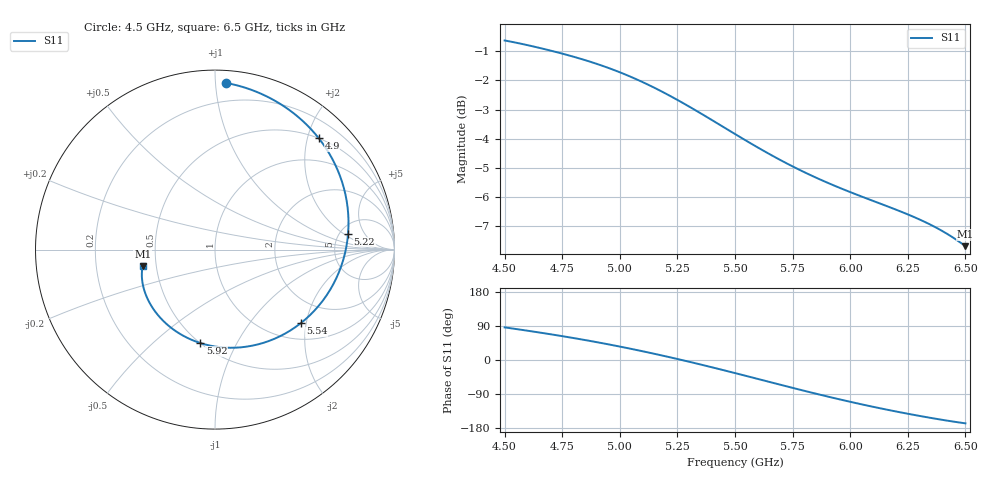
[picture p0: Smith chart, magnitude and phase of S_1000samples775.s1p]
! TOUCHSTONE file generated by CST MICROWAVE STUDIO
! Date and time: Sat Oct 29 08:19:11 2022
! Project name: L.cst
! Parameters = {Di=1.27; Epsilon_r=1.56; InnerDiameter=1.27; Length=2; Lf=10; Lg=60; OuterConductorThickness=0.2921; OuterDiameter=3.6; Wf=3; Wp=41.2; de=1.5; df=6.8; g=0.8; gx=3.873; gy=2.90499; h=2.34; hf=1.524; px=13.3201; py=8.51211; w=9.7; wx=9.44711; wy=5.60712}
! Header version: 2018
! Port assignment regex: !\s*Touchstone port\s*([0-9]+)\s*=\s*(CST MWS port|CST DS port)\s*([0-9]+|Zmin|Zmax)\s*\(\"(.*)\"\)(\s*mode\s*([0-9]+))?.*
! Touchstone port assignment:
! Touchstone port 1 = CST MWS port 1 ("")
# GHz S DB R 50
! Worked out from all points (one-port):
!   101 points, 4.5 GHz to 6.5 GHz, reference 50 ohm
!   lowest |S11| = -7.7 dB at 6.5 GHz (marker M1), VSWR 2.41, Z = 21 - j4.65 ohm
!   |S11| at or under -10 dB: nowhere
!   S11 on the Smith chart (normalised r, x): 4.5 GHz: 0.08, +1.07; 4.9 GHz: 0.50, +2.20; 5.22 GHz: 5.92, +2.38; 5.54 GHz: 1.37, -1.86; 5.92 GHz: 0.50, -0.72; 6.5 GHz: 0.42, -0.09
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4.5  -0.63 86.1
4.56  -0.72 80.8
4.64  -0.86 73.6
4.76  -1.10 61.9
4.84  -1.28 53.6
4.9  -1.43 47.1
5  -1.72 35.4
5.06  -1.92 28.0
5.12  -2.13 20.3
5.18  -2.37 12.3
5.22  -2.54 6.8
5.26  -2.71 1.2
5.32  -2.98 -7.4
5.38  -3.26 -16.2
5.44  -3.55 -25.3
5.5  -3.83 -34.5
5.54  -4.02 -40.7
5.64  -4.48 -56.4
5.7  -4.74 -65.8
5.76  -4.98 -75.1
5.84  -5.29 -87.2
5.92  -5.57 -99.0
6  -5.82 -110.3
6.12  -6.19 -126.1
6.18  -6.37 -133.6
6.26  -6.62 -143.0
6.38  -7.07 -155.9
6.5  -7.68 -167.1
